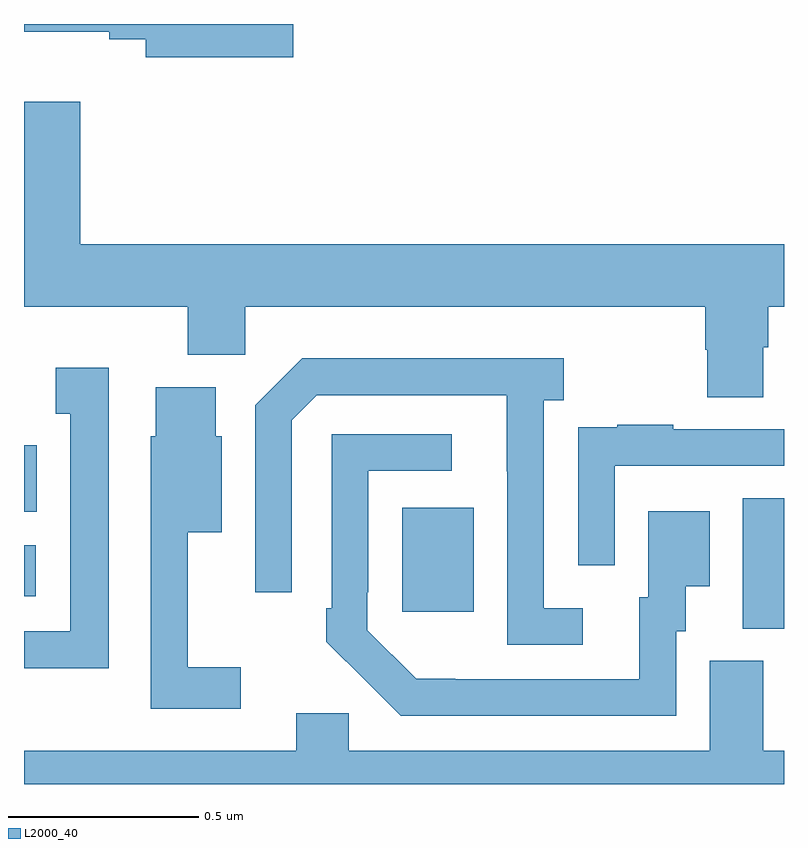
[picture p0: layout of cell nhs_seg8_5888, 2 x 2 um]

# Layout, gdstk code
import gdstk
lib = gdstk.Library(unit=1e-6, precision=1e-09)
def R(c, l, rs):  # rectangles x0, y0, x1, y1
    for r in rs: c.add(gdstk.rectangle(r[:2], r[2:], *l))
def P(c, l, *ps):  # polygons
    for p in ps: c.add(gdstk.Polygon(p, *l))
L2000_40 = (2000, 40)

nhs_seg8_5888 = lib.new_cell('nhs_seg8_5888')
R(nhs_seg8_5888, L2000_40, [(190.892,1126.309,191,1126.652), (189.995,1126.353,190.183,1126.627), (189,1126.394,189.031,1126.528), (189,1126.616,189.034,1126.792)])
P(nhs_seg8_5888, L2000_40, [(189.709,1127.9),(189,1127.9),(189,1127.879),(189.224,1127.879),(189.224,1127.86),(189.32,1127.86),(189.32,1127.813),(189.709,1127.813)],
  [(190.945,1127.05),(190.958,1127.05),(190.958,1127.156),(191,1127.156),(191,1127.32),(189.148,1127.32),(189.148,1127.695),(189,1127.695),(189,1127.156),(189.431,1127.156),(189.431,1127.029),(189.582,1127.029),(189.582,1127.156),(190.793,1127.156),(190.793,1127.043),(190.798,1127.043),(190.798,1126.918),(190.945,1126.918)],
  [(190.471,1126.362),(190.368,1126.362),(190.368,1126.91),(190.42,1126.91),(190.42,1127.02),(189.732,1127.02),(189.609,1126.897),(189.609,1126.404),(189.705,1126.404),(189.705,1126.857),(189.771,1126.923),(190.271,1126.923),(190.271,1126.723),(190.272,1126.723),(190.272,1126.266),(190.471,1126.266)],
  [(189.223,1126.996),(189.083,1126.996),(189.083,1126.875),(189.122,1126.875),(189.122,1126.302),(189,1126.302),(189,1126.205),(189.223,1126.205)],
  [(189.571,1126.207),(189.431,1126.207),(189.431,1126.562),(189.52,1126.562),(189.52,1126.815),(189.505,1126.815),(189.505,1126.944),(189.347,1126.944),(189.347,1126.815),(189.333,1126.815),(189.333,1126.098),(189.571,1126.098)],
  [(190.554,1126.737),(191,1126.737),(191,1126.833),(190.709,1126.833),(190.709,1126.846),(190.561,1126.846),(190.561,1126.839),(190.459,1126.839),(190.459,1126.73),(190.458,1126.73),(190.458,1126.476),(190.554,1126.476)],
  [(190.716,1126.302),(190.741,1126.302),(190.741,1126.421),(190.804,1126.421),(190.804,1126.618),(190.643,1126.618),(190.643,1126.392),(190.619,1126.392),(190.619,1126.176),(190.135,1126.176),(190.135,1126.177),(190.032,1126.177),(189.903,1126.305),(189.903,1126.405),(189.906,1126.405),(189.906,1126.725),(190.126,1126.725),(190.126,1126.821),(189.81,1126.821),(189.81,1126.363),(189.795,1126.363),(189.795,1126.275),(189.9,1126.17),(189.901,1126.171),(189.992,1126.08),(190.716,1126.08)],
  [(189.716,1126.086),(189.716,1125.988),(189,1125.988),(189,1125.9),(191,1125.9),(191,1125.988),(190.945,1125.988),(190.945,1126.224),(190.805,1126.224),(190.805,1125.988),(189.855,1125.988),(189.855,1126.086)])

lib.write_gds('nhs_seg8_5888.gds')
